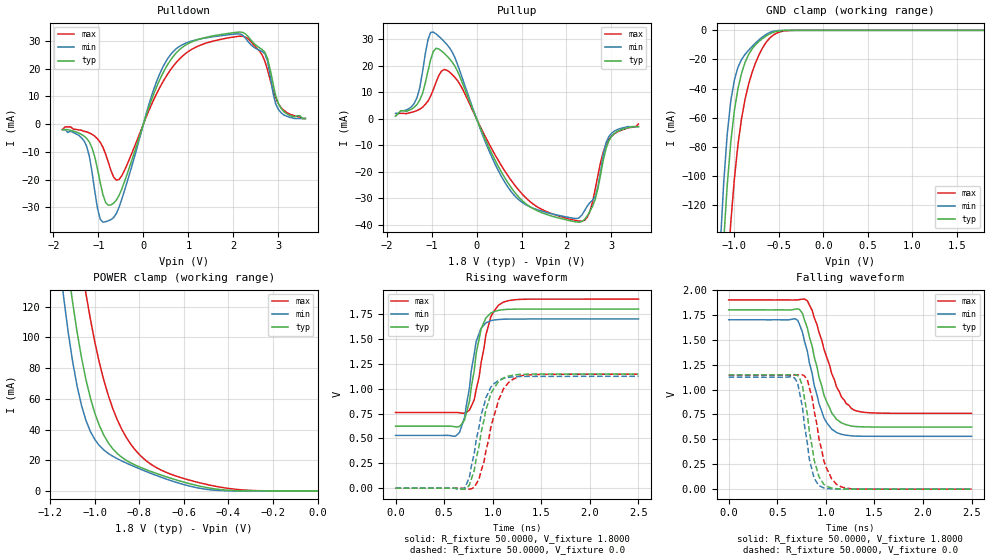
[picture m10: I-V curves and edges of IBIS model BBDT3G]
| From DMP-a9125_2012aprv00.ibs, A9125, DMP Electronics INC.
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[Model] BBDT3G
Model_type I/O
Polarity   Non-Inverting
Enable   Active-Low
Vinl =   0.6500V
Vinh =   1.1500V
Vmeas =  0.9000V
Cref =   0.0F
Rref =   25.0000
Vref =   0.9000V
C_comp   2.3000pF   2.2000pF   2.4000pF
[Temperature Range]   25.0000   -40.0000   0.1250k
[Pullup Reference]   1.8000V   1.7000V   1.9000V
[Pulldown Reference]   0.0V   0.0V   0.0V
[POWER Clamp Reference]   1.8000V   1.7000V   1.9000V
[GND Clamp Reference]   0.0V   0.0V   0.0V
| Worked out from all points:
|   slope of the pulldown table from 0 to 0.27 V, typ, clamps not added: 21.6 ohm
|   slope of the pullup table from 0 to 0.27 V, typ, clamps not added: 25.4 ohm
|   GND clamp passes 1 mA (typ) near -0.54 V on its own axis
|   POWER clamp passes 1 mA (typ) near -0.44 V on its own axis
|   rising waveform, R_fixture 50.0000, V_fixture 1.8000: 20-80 % time 116ps typ, 111ps min, 138ps max; typ from 0.623 V to 1.8 V
|   rising waveform, R_fixture 50.0000, V_fixture 0.0: 20-80 % time 152ps typ, 147ps min, 176ps max; typ from 0 V to 1.15 V
|   falling waveform, R_fixture 50.0000, V_fixture 1.8000: 20-80 % time 196ps typ, 178ps min, 232ps max; typ from 1.8 V to 0.623 V
|   falling waveform, R_fixture 50.0000, V_fixture 0.0: 20-80 % time 120ps typ, 106ps min, 141ps max; typ from 1.15 V to 0 V
[Pulldown]
|Voltage   I(typ)   I(min)   I(max)
-1.8V     -2mA       -2mA       -2mA
-1.26V    -5.2mA     -8.1mA     -2.8mA
-1.02V    -16.25mA   -30.41mA   -5.3mA
-900mV    -25.4mA    -35.39mA   -8.36mA
-780mV    -29.29mA   -34.88mA   -13.79mA
-540mV    -25.7mA    -29.92mA   -19.95mA
300mV     13.69mA    15.64mA    11.18mA
900mV     28.1mA     28.91mA    24.96mA
2.28V     32.39mA    30.75mA    31.29mA
2.7V      25.92mA    25.39mA    22.7mA
3V        7.4mA      5.3mA      7.4mA
3.6V      2mA        2mA        2mA
[Pullup]
|Voltage   I(typ)   I(min)   I(max)
-1.8V     1mA        2mA        1mA
-1.38V    4.4mA      5.9mA      2.7mA
-1.08V    17.9mA     29.79mA    6.6mA
-960mV    25.34mA    32.66mA    10.99mA
-720mV    24.66mA    29.13mA    18.55mA
-480mV    19.75mA    23.01mA    15.59mA
780mV     -26.21mA   -27.71mA   -23.49mA
2.28V     -39.03mA   -37.39mA   -38.61mA
2.46V     -36.67mA   -33mA      -37.25mA
2.64V     -30.34mA   -29.31mA   -26.45mA
2.94V     -8.4mA     -6.8mA     -7.8mA
3.6V      -3mA       -3mA       -2mA
[GND_clamp]
|Voltage   I(typ)   I(min)   I(max)
-1.8V     -1.323A    -1.33A     -1.338A
-1.16V    -191.4mA   -150.1mA   -258.3mA
-1.12V    -144.9mA   -105.3mA   -210.5mA
-1.08V    -106.4mA   -71.35mA   -168.2mA
-1.04V    -76.68mA   -48.45mA   -131.9mA
-1V       -55.17mA   -34.14mA   -102.2mA
-960mV    -40.18mA   -25.42mA   -78.79mA
-880mV    -22.1mA    -16.53mA   -47.36mA
-760mV    -9.731mA   -8.599mA   -22mA
-640mV    -3.774mA   -2.664mA   -7.959mA
-400mV    -31.85uA   -3.958uA   -210.5uA
1.8V      448.5pA    384.6pA    -128.9nA
[POWER_clamp]
|Voltage   I(typ)   I(min)   I(max)
-1.8V     1.414A     1.421A     1.431A
-1.14V    168.6mA    126.3mA    238.1mA
-1.1V     123.2mA    84.6mA     189.5mA
-1.08V    103.9mA    68.59mA    167.6mA
-1.04V    72.64mA    46.02mA    128.7mA
-980mV    42.76mA    29.63mA    83.86mA
-920mV    27.55mA    22.63mA    53.91mA
-860mV    20.05mA    18.24mA    35.21mA
-780mV    14.46mA    13.27mA    20.95mA
-660mV    8.33mA     6.793mA    10.97mA
-440mV    949.4uA    273.7uA    2.548mA
0V        448.5pA    170.5pA    68.87nA
[Ramp]
| variable   typ   min   max
dV/dt_r  0.6882/0.1529n   0.6744/0.1459n   0.6870/0.1715n
dV/dt_f  0.7062/0.1914n   0.7017/0.1754n   0.6835/0.2268n
R_load = 50.0000
[Rising Waveform]
R_fixture= 50.0000
V_fixture= 1.8000
V_fixture_min= 1.7000
V_fixture_max= 1.9000
|time   V(typ)   V(min)   V(max)
0s        623mV      530.5mV    760.9mV
610ps     618mV      521.4mV    761.2mV
680ps     643.3mV    621.9mV    753.9mV
760ps     869.8mV    1.006V     783.5mV
810ps     1.184V     1.352V     891mV
880ps     1.599V     1.606V     1.258V
930ps     1.711V     1.661V     1.542V
1.01ns    1.773V     1.689V     1.774V
1.16ns    1.797V     1.699V     1.884V
2.5ns     1.8V       1.7V       1.9V
[Rising Waveform]
R_fixture= 50.0000
V_fixture= 0.0
V_fixture_min= 0.0
V_fixture_max= 0.0
|time   V(typ)   V(min)   V(max)
0s        0V         0V         5.196uV
680ps     -8.413mV   -9.318mV   134.7uV
760ps     31.17mV    110.7mV    -8.879mV
860ps     427mV      617.6mV    95.91mV
930ps     789.3mV    910.9mV    375.7mV
980ps     950.7mV    1.015V     609.8mV
1.06ns    1.072V     1.085V     887.5mV
1.16ns    1.126V     1.113V     1.059V
1.31ns    1.145V     1.123V     1.133V
2.5ns     1.147V     1.124V     1.145V
[Falling Waveform]
R_fixture= 50.0000
V_fixture= 1.8000
V_fixture_min= 1.7000
V_fixture_max= 1.9000
|time   V(typ)   V(min)   V(max)
0s        1.8V       1.7V       1.9V
680ps     1.806V     1.711V     1.899V
730ps     1.803V     1.65V      1.903V
810ps     1.618V     1.383V     1.891V
930ps     1.121V     856mV      1.571V
1.01ns    873.6mV    664.6mV    1.321V
1.11ns    700.3mV    568mV      1.026V
1.21ns    645.9mV    541mV      859.7mV
1.36ns    626mV      531.5mV    775.9mV
2.5ns     623mV      530.5mV    760.9mV
[Falling Waveform]
R_fixture= 50.0000
V_fixture= 0.0
V_fixture_min= 0.0
V_fixture_max= 0.0
|time   V(typ)   V(min)   V(max)
0s        1.147V     1.124V     1.145V
660ps     1.151V     1.126V     1.144V
710ps     1.143V     1.066V     1.147V
760ps     1.036V     820mV      1.147V
830ps     580.7mV    299.7mV    1.02V
880ps     288.5mV    108.5mV    783.4mV
960ps     77.8mV     21.01mV    380.3mV
1.06ns    11.2mV     3.017mV    102.5mV
1.16ns    1.995mV    556.9uV    21.93mV
2.5ns     4.065uV    1.892uV    13.38uV
